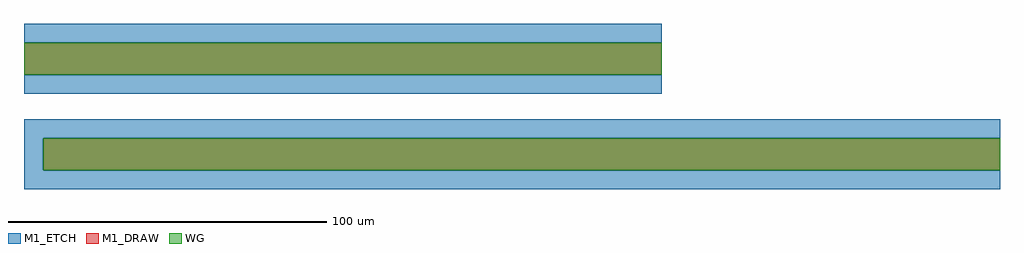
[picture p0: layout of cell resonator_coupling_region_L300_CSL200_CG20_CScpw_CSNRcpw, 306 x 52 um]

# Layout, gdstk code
import gdstk
lib = gdstk.Library(unit=1e-6, precision=1e-09)
def R(c, l, rs):  # rectangles x0, y0, x1, y1
    for r in rs: c.add(gdstk.rectangle(r[:2], r[2:], *l))
def P(c, l, *ps):  # polygons
    for p in ps: c.add(gdstk.Polygon(p, *l))
M1_DRAW = (1, 0)
M1_ETCH = (1, 1)
WG = (102, 0)

resonator_coupling_regio = lib.new_cell('resonator_coupling_region_L300_CSL200_CG20_CScpw_CSNRcpw')
R(resonator_coupling_regio, M1_DRAW, [(0,-5,300,5), (-6,25,194,35)])
R(resonator_coupling_regio, M1_ETCH, [(-6,19,194,25), (-6,35,194,41)])
P(resonator_coupling_regio, M1_ETCH, [(-6,-11),(-6,11),(300,11),(300,5),(0,5),(0,-5),(300,-5),(300,-11)])
R(resonator_coupling_regio, WG, [(0,-5,300,5), (-6,25,194,35)])

lib.write_gds('resonator_coupling_region_L300_CSL200_CG20_CScpw_CSNRcpw.gds')
